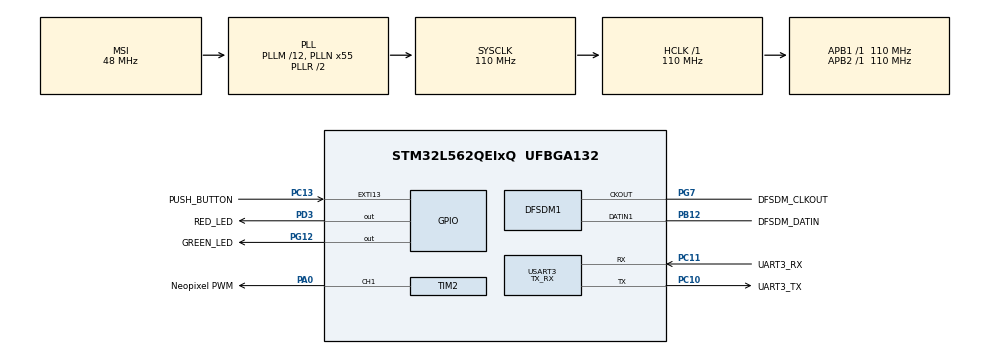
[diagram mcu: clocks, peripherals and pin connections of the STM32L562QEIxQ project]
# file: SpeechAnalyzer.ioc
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DFSDM1.Divider=16
DFSDM1.DmaMode_reg_FIL0=ENABLE
DFSDM1.FastMode_reg_FIL0=ENABLE
DFSDM1.Filter_regChannel_FIL0=DFSDM_CHANNEL_1
DFSDM1.Fosr_FIL0=64
DFSDM1.Iosr_FIL0=16
DFSDM1.RightBitShift_CH1=0x02
DFSDM1.Selection=DFSDM_CHANNEL_OUTPUT_CLOCK_SYSTEM
DFSDM1.SincOrder_FIL0=DFSDM_FILTER_FASTSINC_ORDER
Dma.DFSDM1_FLT0.0.Channel_PRIV_NPRIV=DMA_CHANNEL_NPRIV_DISABLE
Dma.DFSDM1_FLT0.0.Direction=DMA_PERIPH_TO_MEMORY
Dma.DFSDM1_FLT0.0.EventEnable=DISABLE
Dma.DFSDM1_FLT0.0.Instance=DMA1_Channel4
Dma.DFSDM1_FLT0.0.MemDataAlignment=DMA_MDATAALIGN_WORD
Dma.DFSDM1_FLT0.0.MemInc=DMA_MINC_ENABLE
Dma.DFSDM1_FLT0.0.Mode=DMA_CIRCULAR
Dma.DFSDM1_FLT0.0.PeriphDataAlignment=DMA_PDATAALIGN_WORD
Dma.DFSDM1_FLT0.0.PeriphInc=DMA_PINC_DISABLE
Dma.DFSDM1_FLT0.0.Polarity=HAL_DMAMUX_REQ_GEN_RISING
Dma.DFSDM1_FLT0.0.Priority=DMA_PRIORITY_HIGH
Dma.DFSDM1_FLT0.0.RequestNumber=1
Dma.DFSDM1_FLT0.0.SignalID=NONE
Dma.DFSDM1_FLT0.0.SyncEnable=DISABLE
Dma.DFSDM1_FLT0.0.SyncPolarity=HAL_DMAMUX_SYNC_NO_EVENT
Dma.DFSDM1_FLT0.0.SyncRequestNumber=1
Dma.DFSDM1_FLT0.0.SyncSignalID=NONE
Dma.Request0=DFSDM1_FLT0
Dma.Request1=TIM2_CH1
Dma.Request2=USART3_TX
Dma.TIM2_CH1.1.Channel_PRIV_NPRIV=DMA_CHANNEL_NPRIV_DISABLE
Dma.TIM2_CH1.1.Direction=DMA_MEMORY_TO_PERIPH
Dma.TIM2_CH1.1.EventEnable=DISABLE
Dma.TIM2_CH1.1.Instance=DMA1_Channel1
Dma.TIM2_CH1.1.MemDataAlignment=DMA_MDATAALIGN_BYTE
Dma.TIM2_CH1.1.MemInc=DMA_MINC_ENABLE
Dma.TIM2_CH1.1.Mode=DMA_CIRCULAR
Dma.TIM2_CH1.1.PeriphDataAlignment=DMA_PDATAALIGN_WORD
Dma.TIM2_CH1.1.PeriphInc=DMA_PINC_DISABLE
Dma.TIM2_CH1.1.Polarity=HAL_DMAMUX_REQ_GEN_RISING
Dma.TIM2_CH1.1.Priority=DMA_PRIORITY_MEDIUM
Dma.TIM2_CH1.1.RequestNumber=1
Dma.TIM2_CH1.1.SignalID=NONE
Dma.TIM2_CH1.1.SyncEnable=DISABLE
Dma.TIM2_CH1.1.SyncPolarity=HAL_DMAMUX_SYNC_NO_EVENT
Dma.TIM2_CH1.1.SyncRequestNumber=1
Dma.TIM2_CH1.1.SyncSignalID=NONE
Dma.USART3_TX.2.Channel_PRIV_NPRIV=DMA_CHANNEL_NPRIV_DISABLE
Dma.USART3_TX.2.Direction=DMA_MEMORY_TO_PERIPH
Dma.USART3_TX.2.EventEnable=DISABLE
Dma.USART3_TX.2.Instance=DMA1_Channel2
Dma.USART3_TX.2.MemDataAlignment=DMA_MDATAALIGN_BYTE
Dma.USART3_TX.2.MemInc=DMA_MINC_ENABLE
Dma.USART3_TX.2.Mode=DMA_NORMAL
Dma.USART3_TX.2.PeriphDataAlignment=DMA_PDATAALIGN_BYTE
Dma.USART3_TX.2.PeriphInc=DMA_PINC_DISABLE
Dma.USART3_TX.2.Polarity=HAL_DMAMUX_REQ_GEN_RISING
Dma.USART3_TX.2.Priority=DMA_PRIORITY_LOW
Dma.USART3_TX.2.RequestNumber=1
Dma.USART3_TX.2.SignalID=NONE
Dma.USART3_TX.2.SyncEnable=DISABLE
Dma.USART3_TX.2.SyncPolarity=HAL_DMAMUX_SYNC_NO_EVENT
Dma.USART3_TX.2.SyncRequestNumber=1
Dma.USART3_TX.2.SyncSignalID=NONE
Mcu.Family=STM32L5
Mcu.Name=STM32L562QEIxQ
Mcu.Package=UFBGA132
Mcu.TrustZone=disable
NVIC.DFSDM1_FLT0_IRQn=true\:0\:0\:false\:false\:true\:true\:true
NVIC.DMA1_Channel1_IRQn=true\:0\:0\:false\:false\:true\:false\:true
NVIC.DMA1_Channel2_IRQn=true\:0\:0\:false\:false\:true\:false\:true
NVIC.DMA1_Channel4_IRQn=true\:7\:0\:true\:false\:true\:false\:true
NVIC.EXTI13_IRQn=true\:4\:0\:true\:false\:true\:true\:true
NVIC.PriorityGroup=NVIC_PRIORITYGROUP_3
NVIC.TIM2_IRQn=true\:0\:0\:false\:false\:true\:true\:true
NVIC.TIM3_IRQn=true\:0\:0\:false\:false\:true\:true\:true
NVIC.USART3_IRQn=true\:0\:0\:false\:false\:true\:true\:true
PA0.GPIO_Label=Neopixel PWM
PA0.GPIO_Speed=GPIO_SPEED_FREQ_HIGH
PA0.Signal=S_TIM2_CH1
PB12.GPIO_Label=DFSDM_DATIN
PB12.GPIO_Speed=GPIO_SPEED_FREQ_VERY_HIGH
PB12.Signal=S_DATAIN1DFSDM1
PC10.GPIO_Label=UART3_TX
PC10.GPIO_Speed=GPIO_SPEED_FREQ_HIGH
PC10.Mode=Asynchronous
PC10.Signal=USART3_TX
PC11.GPIO_Label=UART3_RX
PC11.GPIO_Speed=GPIO_SPEED_FREQ_HIGH
PC11.Mode=Asynchronous
PC11.Signal=USART3_RX
PC13.GPIO_Label=PUSH_BUTTON
PC13.GPIO_ModeDefaultEXTI=GPIO_MODE_IT_FALLING
PC13.GPIO_PuPd=GPIO_NOPULL
PC13.Signal=GPXTI13
PD3.GPIO_Label=RED_LED
PD3.Signal=GPIO_Output
PG12.GPIO_Label=GREEN_LED
PG12.Signal=GPIO_Output
PG7.GPIO_Label=DFSDM_CLKOUT
PG7.GPIO_Speed=GPIO_SPEED_FREQ_VERY_HIGH
PG7.Signal=S_CKOUTDFSDM1
ProjectManager.HeapSize=0x200
ProjectManager.StackSize=0x400
ProjectManager.TargetToolchain=STM32CubeIDE
RCC.ADCFreq_Value=96000000
RCC.AHBFreq_Value=110000000
RCC.APB1Freq_Value=110000000
RCC.APB1TimFreq_Value=110000000
RCC.APB2Freq_Value=110000000
RCC.APB2TimFreq_Value=110000000
RCC.CK48CLockSelection=RCC_USBCLKSOURCE_MSI
RCC.CortexFreq_Value=110000000
RCC.DFSDMCLockSelection=RCC_DFSDM1CLKSOURCE_SYSCLK
RCC.HCLKFreq_Value=110000000
RCC.HSE_VALUE=8000000
RCC.HSI48_VALUE=48000000
RCC.HSI_VALUE=16000000
RCC.LSE_VALUE=32768
RCC.MSIClockRange=RCC_MSIRANGE_11
RCC.MSI_VALUE=48000000
RCC.PLLM=12
RCC.PLLN=55
RCC.PLLSAI1M=4
RCC.PLLSAI1N=48
RCC.PLLSAI1P=RCC_PLLP_DIV17
RCC.PLLSAI1Source=RCC_PLLSAI1SOURCE_HSI
RCC.SDMMCClockSelection=RCC_SDIOCLKSOURCE_CLK48
RCC.SYSCLKFreq_VALUE=110000000
RCC.SYSCLKSource=RCC_SYSCLKSOURCE_PLLCLK
RCC.USBFreq_Value=48000000
RCC.VCOOutputFreq_Value=220000000
SH.S_CKOUTDFSDM1.0=DFSDM1_CKOUT,PDM_SPI_input_from_ch1_and_internal_clock
SH.S_CKOUTDFSDM1.1=DFSDM1_CKOUT,CKOUT
SH.S_DATAIN1DFSDM1.0=DFSDM1_DATIN1,PDM_SPI_input_from_ch1_and_internal_clock
SH.S_TIM2_CH1.0=TIM2_CH1,PWM Generation1 CH1
TIM16.Prescaler=1100-1
TIM2.Channel-PWM\ Generation1\ CH1=TIM_CHANNEL_1
TIM2.Period=69-1
TIM2.Prescaler=2-1
TIM3.Period=51-1
TIM3.Prescaler=32001-1
USART3.DMADisableonRxErrorParam=ADVFEATURE_DMA_ENABLEONRXERROR
USART3.Mode=MODE_TX_RX
USART3.VirtualMode-Asynchronous=VM_ASYNC
VP_ICACHE_VS_ICACHE.Mode=DirectMappedCache
VP_PWR_VS_DBSignals.Mode=DisableDeadBatterySignals
VP_PWR_VS_SECSignals.Mode=Security/Privilege
VP_TIM16_VS_ClockSourceINT.Mode=Enable_Timer
VP_TIM2_VS_ClockSourceINT.Mode=Internal
VP_TIM3_VS_ClockSourceINT.Mode=Internal
board=STM32L562E-DK

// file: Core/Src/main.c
/* USER CODE BEGIN Header */
/**
  ******************************************************************************
  * @file           : main.c
  * @brief          : Main program body
  ******************************************************************************
  * @attention
  *
  * Copyright (c) 2022 STMicroelectronics.
  * All rights reserved.
  *
  * This software is licensed under terms that can be found in the LICENSE file
  * in the root directory of this software component.
  * If no LICENSE file comes with this software, it is provided AS-IS.
  *
  ******************************************************************************
  */
/* USER CODE END Header */
#include "main.h"
#include "dfsdm.h"
#include "dma.h"
#include "icache.h"
#include "tim.h"
#include "usart.h"
#include "gpio.h"

/* USER CODE BEGIN Includes */
#include <stdio.h>
#include <stdlib.h>
#include <string.h>
#include "arm_math.h"
#include "sk6812.h"
/* USER CODE END Includes */

/* USER CODE BEGIN PD */

#define MAX_FFT_LENGTH		    2048
#define HALF_MAX_FFT_LENGTH		1024
#define	DEFAULT_FFT_LENGTH		512
/*
#define	FFT_LENGTH				512
#define HALF_FFT_LENGTH			256
#define DOUBLE_FFT_LENGTH		1024
*/

#define LED_ROWS				8
#define LED_COLS				32			// Should be same as NUM_DISPLAY_BINS
#define NUM_DISPLAY_BINS		LED_COLS    // Width of data display

#define OUTPUT_DATA_BUFF_LEN	MAX_FFT_LENGTH*8  // Safety margin probably too big here
//#define REMOVE_AVERAGE

/* USER CODE END PD */

/* USER CODE BEGIN PM */
#define SaturaLH(N, L, H) (((N)<(L))?(L):(((N)>(H))?(H):(N)))
#define constrain(amt,low,high) ((amt)<(low)?(low):((amt)>(high)?(high):(amt)))
/* USER CODE END PM */

/* USER CODE BEGIN PV */
int32_t 					 RecBuff[2*MAX_FFT_LENGTH];  // Twice FFT size so can fill other half of circular buffer
__IO uint32_t                DmaRecHalfBuffCplt  = 0;
__IO uint32_t                DmaRecBuffCplt      = 0;
__IO uint32_t				 DmaSentHalfBuffCplt = 1;
__IO uint32_t				 DmaSentBuffCplt     = 1;
__IO uint32_t				 DoDataProcessing 	 = 1;
__IO uint32_t				 debouncing 	 	 = 0;
__IO uint32_t				 RXDataIncoming 	 = 0;
__IO uint32_t				 RXDataEnabled   	 = 0;
__IO uint32_t				 rxIndex			 = 0;
__IO char					 RXCmd				 = 0;

const  		uint8_t			 RowColors[LED_ROWS][3] =
										{{17,51,81},{17,81,81},{17,81,51},{17,81,17},
										 {51,81,17},{81,81,17},{81,51,17},{81,17,17}};
uint8_t						 ColumnColors[LED_COLS][3];
HAL_StatusTypeDef 			 sts;
// Buffer to receive user commands via USART
char						 rxByte;
char						 commBuff[256];
// Buffer to send FFT Data to computer over serial
char						 OutBuff[OUTPUT_DATA_BUFF_LEN];

// FFT Buffers and variables
float32_t					 FFTInBuff[MAX_FFT_LENGTH];
float32_t					 FFTOutBuff[MAX_FFT_LENGTH];
float32_t					 PowerBuff[HALF_MAX_FFT_LENGTH];
arm_rfft_fast_instance_f32	 fftHandler;

// Buffer to hold data values for the display
int16_t					 	 DisplayBuff[NUM_DISPLAY_BINS];

// Parameters for post-processing the FFT data to narrow it to the region of interest
typedef enum {MODE_TOTAL,
			  MODE_MAX,
			  MODE_AVERAGE} ProcessingMode;

/* Not implemented
// Interpolation FFT comes from: https://www.dsprelated.com/showarticle/1156.php
typedef enum {INTERPOLATION_LINEAR,
			  INTERPOLATION_NEAREST,
			  INTERPOLATION_FFT} InterpolationMode;
*/

// Store display parameters
typedef struct DisplayParameters {
	uint16_t			displayWidth;
	uint16_t			displayHeight;
	uint16_t			binWidth;	        //# of data points aggregated per display bin
	uint16_t			nFilledBins;
	uint16_t			firstBinPosition;
	int16_t				*displayBuff;
	uint8_t				**colColors;
	ProcessingMode		dataMode;
} DispParamStruct;

DispParamStruct		DisplayParams = {
	LED_COLS,							//displayWidth
	LED_ROWS,							//displayheight
	DEFAULT_FFT_LENGTH/(2*LED_COLS),	//binWidth
	0,
	0,
	DisplayBuff,
	ColumnColors,
	MODE_AVERAGE
};

// Parameters to control which data is written to the console
typedef struct ConsoleParameters {
	char*				writeBuffer;
	uint16_t			outputColVals;
	uint16_t			outputMaxCol;
	uint16_t			outputFFTTiming;
	uint16_t			outputDisplayRange;
} ConsoleParamStruct;

ConsoleParamStruct	ConsoleParams = {
		&OutBuff,
		0,	// outputColVals
		0,	// outputMaxCol
		1,  // outputFFTTiming;
		1,  // outputDisplayRange
};

// Parameters for use with the FFT input/output/analysis data
typedef struct FFTParameters {
	uint16_t					numDataPoints;
	uint16_t					halfNumDataPoints;
	uint16_t					zeroPad; 	// if nonZero, the last "zeroPad" elements of the array are zero-padded [not implemented]
	uint32_t					LastFFTComputationTimeMicros;
	uint16_t					sampleRateHZ;
	float32_t   				*inBuff;
	float32_t					*outBuff;
	float32_t   				*powerBuff;
	uint16_t					maxFreq;
	uint16_t				    minFreq;
	uint16_t					freqResolution; // Hertz per data bin
	uint16_t					doFFT;			// If zero, we're pausing computation to look at existing data
	arm_rfft_fast_instance_f32	*handler;
} FFTParamStruct;

FFTParamStruct		FFTParams = { DEFAULT_FFT_LENGTH,			//numDataPoints
								  DEFAULT_FFT_LENGTH/2,  		//halfNumDataPoints
								  0,							//zeroPad
								  0,							//LastFFTComputationTimeMicros
								  0,    						//SampleRateHz - must be compted in initialization
								  FFTInBuff,
								  FFTOutBuff,
								  PowerBuff, 					//min/max frequency and binsize will be computed
								  0,							//maxFreq
								  0,							//minFreq
								  0,							//binSize
								  1,							//doFFT
								  &fftHandler					// FFT Handler structure
};

// Timers
TIM_HandleTypeDef htim2;
DMA_HandleTypeDef hdma_tim2_ch1;

/* USER CODE END PV */

void SystemClock_Config(void);
/* USER CODE BEGIN PFP */

// Returns the audio sampling frequency by the DFSDM, along with min, max frequencies shown
// and the width of a bin in Hz
float32_t	getSamplingRate(uint16_t *fmin, uint16_t *fmax) {
	// Should probably be reading these values from various bits in DFSDM configuration registers,
	// but this is much easier to implement
	float32_t 	clockRate 		=	hdfsdm1_channel1.Init.OutputClock.Selection == DFSDM_CHANNEL_OUTPUT_CLOCK_SYSTEM ? 110000000: 48000000;	// System or Audio clock rate
	float32_t	foic 			= 	hdfsdm1_filter0.Init.FilterParam.Oversampling;
	float32_t	integ 			= 	hdfsdm1_filter0.Init.FilterParam.IntOversampling;
	float32_t	div				= 	hdfsdm1_channel1.Init.OutputClock.Divider;
	float32_t 	samplingRate 	= 	clockRate/(foic*integ*div);
	*fmin = 0;
	*fmax = samplingRate/2;
	return samplingRate;
}

// If the size of the FFT input data array changes, update the dependent descriptors
void updateFFTParamVals(uint16_t numData) {	// If numData is zero, keep existing dataPointValues

	if (numData) {
		FFTParams.numDataPoints = numData;
		FFTParams.halfNumDataPoints = numData/2;
	}

	FFTParams.sampleRateHZ = getSamplingRate(&(FFTParams.minFreq), &(FFTParams.maxFreq));
	FFTParams.freqResolution = (FFTParams.maxFreq - FFTParams.minFreq)/FFTParams.halfNumDataPoints;
	arm_rfft_fast_init_f32(FFTParams.handler, FFTParams.numDataPoints);
}

// Calls the CMSIS functions to compute the FFT and the magnitude of the returned frequency data
void DoFFT(FFTParamStruct *fftParams) {

	// Do FFT
	// Record start time
	uint16_t timerVal16 = __HAL_TIM_GET_COUNTER(&htim16);
	arm_rfft_fast_f32(fftParams->handler, fftParams->inBuff, fftParams->outBuff, 0);
	// Compute computation time. Prescaler of 1100 means ticks are 10uS each
	 timerVal16 = __HAL_TIM_GET_COUNTER(&htim16) - timerVal16;  // Keep timing units in uS for now
	 fftParams->LastFFTComputationTimeMicros = 10*((uint32_t) timerVal16);
	// Compute magnitude of the complex return values. powerBuff has half the number
	//  of elements of inBuff/outBuff
	arm_cmplx_mag_f32(fftParams->outBuff, fftParams->powerBuff, fftParams->halfNumDataPoints);
	// Convert to DB
	//for (i = 0; i < HALF_FFT_LENGTH/2; i++) {
	//	powerBuff[i] = (20*log10(powerBuff[i]));  // TBD? Subract offset?
	//}
}

// Controls which data is sent to the console. Not really implemented yet
ConsoleParamStruct	ConsoleParameters = {
		&OutBuff,
		0,	// outputColVals
		0,	// outputMaxCol
		1,  // outputFFTTiming;
		1,  // outputDisplayRange
};

// TBD - will generate information about what data is being
// written to the display
uint16_t MakeDisplayDescriptorString() {
	char	*outPtr = ConsoleParams.writeBuffer;
}

// Generates the string of data to go to the console output
uint16_t MakeDataDescriptorString() {

	uint16_t	i;
	char		*outPtr = ConsoleParams.writeBuffer;

	if (ConsoleParams.outputColVals) {
		for (i = 0; i < NUM_DISPLAY_BINS; i++) {
			sprintf(outPtr, "%d:%12d\r\n",i,DisplayBuff[i]);
			outPtr += strlen(outPtr);
		}
	}
	if (ConsoleParams.outputMaxCol) {
		// TBD
	}
	if (ConsoleParams.outputFFTTiming) {
		sprintf(outPtr, "# samples:    %12d\r\n"
				        "FFT duration: %12.2f ms\r\n"
				        "Sample rate:  %12d Hz\r\n"
				        "Sample period:%12.2f ms\r\n\r\n",
					     FFTParams.numDataPoints,
						 FFTParams.LastFFTComputationTimeMicros/1000.0,
						 FFTParams.sampleRateHZ,
						 FFTParams.numDataPoints*1000.0/FFTParams.sampleRateHZ);
		outPtr += strlen(outPtr);
	}
	if (ConsoleParams.outputDisplayRange) {
		// TBD
	}

	return outPtr - ConsoleParams.writeBuffer;
}

// Enables command characters to be received via the terminal, and lights the Red LED to show the state
void SetDataRX(uint16_t enable) {
	RXDataEnabled = enable;
	HAL_GPIO_WritePin(RED_LED_GPIO_Port, RED_LED_Pin, RXDataEnabled ? GPIO_PIN_RESET : GPIO_PIN_SET);
}

// Enables FFT data processing and sets corresponding LED to show data processing status
void SetDataProcessing(uint16_t enable) {
	DoDataProcessing = enable;
	HAL_GPIO_WritePin(GREEN_LED_GPIO_Port, GREEN_LED_Pin, DoDataProcessing ? GPIO_PIN_RESET : GPIO_PIN_SET);
}

// Process the FFT data for LED grid display - by puting it in the displayBuff, which has NUM_COLS bins. Must supply resolution +
//  start/stop required frequency resolution
void ProcessFFTData(FFTParamStruct *fftParams, DispParamStruct *dispParams) {
	uint16_t	i, j, dataBinSize;
	uint16_t	nFilledBins;
	float32_t	metric;
	float32_t	*dataPtr;

	// We might not have data for all the display columns, so nFilled bins is how many of the columns
	// in the LED matrix will display  a signal
	dataBinSize = dispParams->binWidth;
	nFilledBins = fmin((int16_t) ((fftParams->halfNumDataPoints - dispParams->firstBinPosition)/dataBinSize), LED_COLS);

	for (i = 0; i < nFilledBins; i++) {
		metric = 0;
		dataPtr = fftParams->powerBuff + dispParams->firstBinPosition + i*dataBinSize;
		switch(dispParams->dataMode) {
			case MODE_TOTAL:
			case MODE_AVERAGE:
				for (j = 0; j < dataBinSize; j++) { metric += dataPtr[j]; }
				if (dispParams->dataMode == MODE_AVERAGE) { metric /= dataBinSize; }
				break;
			case MODE_MAX:
				for (j = 0; j < dataBinSize; j++) { metric = fmax(metric, dataPtr[j]); }
				break;

		}
		dispParams-> displayBuff[i] = (uint16_t) metric;
	}

	// Pack the rest of the empty display columns with (-1 or 0)
	for (i = nFilledBins; i < dispParams->displayWidth; i++) {
		dispParams->displayBuff[i] = -1;
	}

}

// Standard cyclic rainbow spectrum generator function with uint8_t input Adapted from Adafruit example at:
// https://learn.adafruit.com/multi-tasking-the-arduino-part-3/utility-functions
void wheel(uint8_t index, uint8_t *r, uint8_t *g, uint8_t *b) {
	index = 255 - index;
	if (index < 85) {
		*r = 255 - index;
		*g = 0;
		*b = index*3;
	} else if (index < 170) {
		index -= 85;
		*r = 0;
		*g = index *3;
		*b = 255 - index*3;
	} else {
		index -= 170;
		*r = index*3;
		*g = 255 - index*3;
		*b = 0;
	}
}

// Plots data on an 8x8 grid of NeoPixels. Assuming we are sampling at 23.4 kHz with 32 frequency bins,
// Standard audio sampling is 44 kHz, but I want only vocal range frequencies
// Then each bin is 6.5 kHz/256 = 25.4 hZ wide, and the values run from 0->6500 Hz.
// we'll pick values for musical notes for our 8 bins.
#define MAX_PLOT_VAL		LED_ROWS - 1
// Computes the actual pixel value for our snake-layout 8x32 LED matrix which currently
// has zero valued pixel on the left side of the display
#define pixel_pos_even_col(X,Y)   (X+2)*LED_ROWS - (Y + 1)
#define pixel_pos_odd_col(X,Y)  X*LED_ROWS + Y
// Plots a spectrogram to leds
void plotFFTData(int16_t *dataBuff) {

	const 	uint8_t			*color_index;
	int16_t 				dataPoint;
	uint8_t					attenuate = 11;  // TBD: create dynamic amplitude scaling
	uint8_t					i, scaled_amplitude;

	// Clear old LEDs
	led_set_all_RGB(0,0,0);

	// scale to display height and plot - alternating columns run opposite directions
	for (i = 0; i < LED_COLS; i += 2) {
		// Data order reversed from display order
		dataPoint = dataBuff[(LED_COLS - i)- 1];
		if (dataPoint > 0) {
			scaled_amplitude = (uint8_t) fmin((dataPoint*LED_ROWS) >> attenuate, MAX_PLOT_VAL);
			color_index = ColumnColors[i];
			led_set_RGB(pixel_pos_odd_col(i,scaled_amplitude), color_index[0], color_index[1], color_index[2]);
		}
		// Data order reversed from display order
		dataPoint = dataBuff[(LED_COLS - i) - 2];
		if (dataPoint > 0) {
			scaled_amplitude = (uint8_t) fmin(dataPoint*LED_ROWS >> attenuate, MAX_PLOT_VAL);
			color_index = ColumnColors[i+1];
			led_set_RGB(pixel_pos_even_col(i,scaled_amplitude), color_index[0], color_index[1], color_index[2]);
		}
	}
	led_render();
}

// Simple test to verify the WS2812B control code is working
void ledTest() {
	static uint8_t color_index = 0, r, g, b;
	static uint8_t start_i = 0;
	uint8_t			i;

	led_set_all_RGB(0,0,0);
	wheel(color_index, &r, &g, &b);
	color_index = (color_index + 1) % 255;
	for (i = 0; i < LED_COLS; i++) {
		led_set_RGB(i*LED_ROWS + start_i, r, g, b);
	}
	start_i = (start_i + 1) % LED_ROWS;
	led_render();
}

// Code to handle incoming UART data incoming as single character commands
uint16_t handleUARTRequest(char request, char *msgBuff, DispParamStruct *dispParams, FFTParamStruct *fftParams) {
	  uint16_t	dispBinFreqWidth, firstBin, lastBin;
	  uint16_t	printInstr = 0;
	  uint16_t	replotData = 0;
	  char* 	msgPtr;

	  switch(request) {
			case 't':	// Toggle real time FFT data processing on/off
				SetDataProcessing(!DoDataProcessing);
				break;
			case 'r':	// Reset display parameters to base balues
				dispParams->firstBinPosition = 0;
				dispParams->binWidth = fftParams->halfNumDataPoints/dispParams->displayWidth;
				replotData = 1;
				break;
			case 'a':	// Shift displayed spectrum left
				dispParams->firstBinPosition = fmin(dispParams->firstBinPosition + dispParams->binWidth, fftParams->halfNumDataPoints - dispParams->binWidth);
				replotData = 1;
				break;
			case 'd':	// Shift displayed spectrum right
				dispParams->firstBinPosition = fmax(dispParams->firstBinPosition - dispParams->binWidth, 0);
				replotData = 1;
				break;
			case 'w':   // Widen display frequency bins
				dispParams->binWidth = fmin(dispParams->binWidth + 1,36);  // TBD: replace arbitrary max binsize value
				replotData = 1;
				break;
			case 's':	// Narrow display frequency bins
				dispParams->binWidth = fmax(dispParams->binWidth - 1, 1);
				replotData = 1;
				break;
			default:
				printInstr = 1;
				break;

	  }
	  if (replotData) {
	      ProcessFFTData(fftParams, dispParams);
		  initializeColumnColors(fftParams, dispParams);
		  plotFFTData(DisplayBuff);
	  }

	  // Prepare output string for console
	  msgPtr = msgBuff;
	  sprintf(msgPtr, "Request %c\r\n",request);
	  msgPtr += strlen(msgPtr);
	  if (printInstr) {
		sprintf(msgPtr,  "Option \"%c\" not recognized.\r\n"
						 "t: toggle FFT\r\n"
						 "r: reset display\r\n"
						 "a: shift data left\r\n"
						 "d: shift data right\r\n"
						 "w: widen freq bins\r\n"
						 "s: narrow freq bins\r\n\r\n",
						 request);
		msgPtr += strlen(msgPtr);
	  } else  {
		  dispBinFreqWidth = fftParams->freqResolution*dispParams->binWidth;
		  firstBin = fftParams->freqResolution*dispParams->firstBinPosition;
		  lastBin = firstBin + dispBinFreqWidth*dispParams->displayWidth;
		  sprintf(msgPtr, "Bin size:  %12d Hz\r\n"
						  "First bin: %12d Hz\r\n"
						  "Last bin:  %12d Hz\r\n\r\n",
						  dispBinFreqWidth,
						  firstBin,
						  lastBin);
		  msgPtr += strlen(msgPtr);
	  }
	  return msgPtr - msgBuff;
}

// Precompute the base level color for each of the columns
// Its more efficient to associate the RGB color with a specific
// column in the display than with a specific frequency in the
// data. We just need to recompute which color goes with which
// column when the display parameters change.
// Because the indices in the display run from high pixel at left to
// low pixel at right display is reversed for the LED matrix, we
// need to fill the column colors in reverse order
void initializeColumnColors(FFTParamStruct *fftParams, DispParamStruct *dispParams) {
//uint16_t firstDataPoint, uint16_t numDataPoints, uint16_t binSize) {
	uint8_t 	r, g, b;
	uint16_t 	i, index;

	for (i = 0; i < LED_COLS; i++) {
		index = (255*(dispParams->firstBinPosition + i*dispParams->binWidth))/(fftParams->halfNumDataPoints-1);
		wheel((uint8_t) index, &r, &g, &b);
		ColumnColors[LED_COLS-i-1][0] = r;
		ColumnColors[LED_COLS-i-1][1] = g;
		ColumnColors[LED_COLS-i-1][2] = b;
	}
}

/* USER CODE END PFP */

int main(void)
{
  /* USER CODE BEGIN 1 */
	  uint32_t 		i;
	  int32_t		satVal;
	  uint16_t 		outStringLen;
	  float32_t*	fftBuffPtr;
	  const uint8_t ATTENUATION =8;  // Usually 8

  /* USER CODE END 1 */

  /* MCU Configuration--------------------------------------------------------*/

  /* Reset of all peripherals, Initializes the Flash interface and the Systick. */
  HAL_Init();

  /* Configure the system clock */
  SystemClock_Config();

  /* Initialize all configured peripherals */
  MX_GPIO_Init();
  MX_DMA_Init();
  MX_DFSDM1_Init();
  MX_ICACHE_Init();
  MX_USART3_UART_Init();
  MX_TIM2_Init();
  MX_TIM3_Init();
  MX_TIM16_Init();
  /* USER CODE BEGIN 2 */

  // Initialize FFT information
  updateFFTParamVals(DEFAULT_FFT_LENGTH);
  // Start our timekeeping timer
  HAL_TIM_Base_Start(&htim16);
  /* Start DFSDM conversions */
  if(HAL_OK != HAL_DFSDM_FilterRegularStart_DMA(&hdfsdm1_filter0, RecBuff, 2*FFTParams.numDataPoints))
  {
    Error_Handler();
  }

  /* USER CODE END 2 */

  /* Infinite loop */
  /* USER CODE BEGIN WHILE */

  led_set_all_RGB(0,0,0);  												// Start all Neopixels Off
  initializeColumnColors(&FFTParams, &DisplayParams);					// Initialize the color array
  SetDataProcessing(1);													// Start in data processing mode
  SetDataRX(0);															// Start with command RX disabled

  while (1)
  {
	  	// Check to see if there is a user request to handle
	  	if (RXCmd) {
	  		outStringLen = handleUARTRequest(RXCmd, commBuff, &DisplayParams, &FFTParams);
	  		RXCmd = 0;
	  		HAL_UART_Transmit_DMA(&huart3, (uint8_t *) commBuff, outStringLen);
	  		// Enable receipt of additional console commands. TBD check return status
    		sts = HAL_UART_Receive_IT(&huart3, &rxByte, 1);
	  	}

	  	// First half of DMA buffer filled with audio data
	    if(DmaRecHalfBuffCplt == 1)
	    {
	    	// Copy data to array for FFT input
	    	fftBuffPtr = FFTInBuff;
	    	for(i = 0; i < FFTParams.numDataPoints; i++) {
	    		// Saturate data values and copy them into the array
	    		satVal 			  = SaturaLH((RecBuff[i] >> ATTENUATION), -32768, 32767);
	    		*(fftBuffPtr++) = satVal;
	    	}

			if (DoDataProcessing) {
		    	DoFFT(&FFTParams);
		    	if (!RXDataEnabled) {  // Transmit stats to console only if console is NOT in data RX mode
					outStringLen = MakeDataDescriptorString();
					// only send descriptive data to console if buffer is free, otherwise skip
					if (DmaSentHalfBuffCplt) {
						  DmaSentHalfBuffCplt = 0;
						  HAL_UART_Transmit_DMA(&huart3, (uint8_t *) OutBuff, outStringLen);
					}
		    	}
			}

			// Prepare data (old or newly acquired) for the display
	    	ProcessFFTData(&FFTParams, &DisplayParams);
			plotFFTData(DisplayBuff);
			//ledTest();
	    	DmaRecHalfBuffCplt  = 0;
  	  }

	  // Second half of buffer filled with audio data
	  if(DmaRecBuffCplt == 1)
	  {
		  // Copy data to array for FFT input
		  fftBuffPtr = FFTInBuff;
		  for(i = FFTParams.numDataPoints; i < 2*FFTParams.numDataPoints; i++) {
			  	satVal 			  = SaturaLH((RecBuff[i] >> ATTENUATION), -32768, 32767);
			  	*(fftBuffPtr++) = satVal;
	  	  }

	      if (DoDataProcessing) {
			  DoFFT(&FFTParams);
			  if (!RXDataEnabled) {	// Transmit stats regularly only if not receiving data
				  outStringLen = MakeDataDescriptorString();
				  // only send descriptive data to console if buffer is free, otherwise skip
				  if (DmaSentBuffCplt) {
					  DmaSentBuffCplt = 0;
					  HAL_UART_Transmit_DMA(&huart3, (uint8_t *) OutBuff, outStringLen);
				  }
			  }
		  }

	      // Prepare data (old or newly acquired) for the display
	      ProcessFFTData(&FFTParams, &DisplayParams);
		  plotFFTData(DisplayBuff);
		  //ledTest();
	      DmaRecBuffCplt  = 0;
	  }
    /* USER CODE END WHILE */

  }
}

void SystemClock_Config(void)
{
  RCC_OscInitTypeDef RCC_OscInitStruct = {0};
  RCC_ClkInitTypeDef RCC_ClkInitStruct = {0};

  /** Configure the main internal regulator output voltage
  */
  if (HAL_PWREx_ControlVoltageScaling(PWR_REGULATOR_VOLTAGE_SCALE0) != HAL_OK)
  {
    Error_Handler();
  }
  /** Initializes the RCC Oscillators according to the specified parameters
  * in the RCC_OscInitTypeDef structure.
  */
  RCC_OscInitStruct.OscillatorType = RCC_OSCILLATORTYPE_MSI;
  RCC_OscInitStruct.MSIState = RCC_MSI_ON;
  RCC_OscInitStruct.MSICalibrationValue = RCC_MSICALIBRATION_DEFAULT;
  RCC_OscInitStruct.MSIClockRange = RCC_MSIRANGE_11;
  RCC_OscInitStruct.PLL.PLLState = RCC_PLL_ON;
  RCC_OscInitStruct.PLL.PLLSource = RCC_PLLSOURCE_MSI;
  RCC_OscInitStruct.PLL.PLLM = 12;
  RCC_OscInitStruct.PLL.PLLN = 55;
  RCC_OscInitStruct.PLL.PLLP = RCC_PLLP_DIV7;
  RCC_OscInitStruct.PLL.PLLQ = RCC_PLLQ_DIV2;
  RCC_OscInitStruct.PLL.PLLR = RCC_PLLR_DIV2;
  if (HAL_RCC_OscConfig(&RCC_OscInitStruct) != HAL_OK)
  {
    Error_Handler();
  }
  /** Initializes the CPU, AHB and APB buses clocks
  */
  RCC_ClkInitStruct.ClockType = RCC_CLOCKTYPE_HCLK|RCC_CLOCKTYPE_SYSCLK
                              |RCC_CLOCKTYPE_PCLK1|RCC_CLOCKTYPE_PCLK2;
  RCC_ClkInitStruct.SYSCLKSource = RCC_SYSCLKSOURCE_PLLCLK;
  RCC_ClkInitStruct.AHBCLKDivider = RCC_SYSCLK_DIV1;
  RCC_ClkInitStruct.APB1CLKDivider = RCC_HCLK_DIV1;
  RCC_ClkInitStruct.APB2CLKDivider = RCC_HCLK_DIV1;

  if (HAL_RCC_ClockConfig(&RCC_ClkInitStruct, FLASH_LATENCY_5) != HAL_OK)
  {
    Error_Handler();
  }
}

/* USER CODE BEGIN 4 */

/**
  * @brief  Regular conversion complete callback.
  * @note   In interrupt mode, user has to read conversion value in this function
  *         using HAL_DFSDM_FilterGetRegularValue.
  * @param  hdfsdm_filter DFSDM filter handle.
  * @retval None
  */

void HAL_DFSDM_FilterRegConvCpltCallback(DFSDM_Filter_HandleTypeDef *hdfsdm_filter)
{
	//Override callback from stn32l5xx_hal_dfsdm.c
	  if(hdfsdm_filter == &hdfsdm1_filter0)
	  {
	    DmaRecBuffCplt = 1;
	  }
}

/**
  * @brief  Half regular conversion complete callback.
  * @param  hdfsdm_filter DFSDM filter handle.
  * @retval None
  */

void HAL_DFSDM_FilterRegConvHalfCpltCallback(DFSDM_Filter_HandleTypeDef *hdfsdm_filter)
{
	// Override callback from stn32l5xx_hal_dfsdm.c
	  if(hdfsdm_filter == &hdfsdm1_filter0)
	  {
	    DmaRecHalfBuffCplt = 1;
	  }
}

/**
  * @brief Tx Transfer completed callback.
  * @param huart UART handle.
  * @retval None
  */
void HAL_UART_TxCpltCallback(UART_HandleTypeDef *huart)
{
  if (huart == &huart3) {
	  DmaSentBuffCplt = 1;
  }

}

/**
  * @brief  Tx Half Transfer completed callback.
  * @param  huart UART handle.
  * @retval None
  */
void HAL_UART_TxHalfCpltCallback(UART_HandleTypeDef *huart)
{
	  if (huart == &huart3) {
		  DmaSentHalfBuffCplt = 1;
	  }
}

/**
  * @brief  Rx Transfer completed callback.
  * @param  huart UART handle.
  * @retval None
  */
void HAL_UART_RxCpltCallback(UART_HandleTypeDef *huart)
{
 	if (huart == &huart3) {
		// If no data is being received, clear the buffer
	    // Enable receiving of data via UART and interrupt notification

	    if (RXDataEnabled) {
	    	RXDataIncoming = 1;
	    	RXCmd = rxByte;
	    } else {
	    	RXDataIncoming = 0;
	    	RXCmd = 0;
	    }
	}
}

/**
  * @brief  EXTI line rising detection callback.
  * @param  GPIO_Pin Specifies the port pin connected to corresponding EXTI line.
  * @retval None
  */
void HAL_GPIO_EXTI_Falling_Callback(uint16_t GPIO_Pin)
{
  /* Prevent unused argument(s) compilation warning */

  if (!debouncing && GPIO_Pin == PUSH_BUTTON_Pin) {
	  // Implement debouncing by starting timer 3
	  debouncing = 1;
	  HAL_TIM_Base_Start_IT(&htim3);

  }

}

/**
  * @brief  Period elapsed callback in non-blocking mode
  * @param  htim TIM handle
  * @retval None
  */
void HAL_TIM_PeriodElapsedCallback(TIM_HandleTypeDef *htim)
{
	// Debounce push button
	if (htim == &htim3) {
		debouncing = 0;
		HAL_TIM_Base_Stop_IT(&htim3);
		// If we're here, the button is debounced and we should toggle the state
		if (HAL_GPIO_ReadPin(PUSH_BUTTON_GPIO_Port, PUSH_BUTTON_Pin) == GPIO_PIN_RESET) {	// Button is pushed
			SetDataRX(!RXDataEnabled);
			if (RXDataEnabled) {	// Prepare to read characters from UART
				HAL_UART_Receive_IT(&huart3, &rxByte, 1);
			} else {
				// If we're exiting data RX mode, make sure data processing is enabled
				SetDataProcessing(1);
			}
		}
	}
}
/* USER CODE END 4 */

void Error_Handler(void)
{
  __disable_irq();
  while (1)
  {
  }
}
